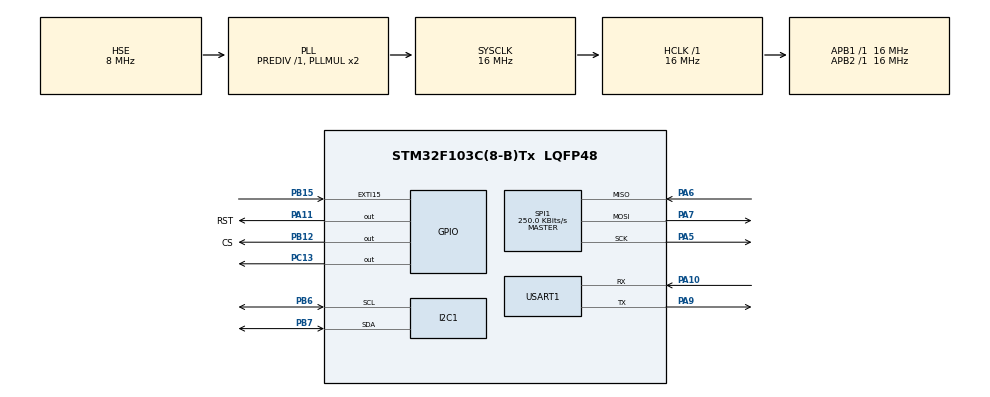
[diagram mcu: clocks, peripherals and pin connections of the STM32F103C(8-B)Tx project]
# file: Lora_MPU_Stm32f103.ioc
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Mcu.Family=STM32F1
Mcu.Name=STM32F103C(8-B)Tx
Mcu.Package=LQFP48
NVIC.PriorityGroup=NVIC_PRIORITYGROUP_4
PA10.Mode=Asynchronous
PA10.Signal=USART1_RX
PA11.GPIO_Label=RST
PA11.PinState=GPIO_PIN_SET
PA11.Signal=GPIO_Output
PA5.Mode=Full_Duplex_Master
PA5.Signal=SPI1_SCK
PA6.Mode=Full_Duplex_Master
PA6.Signal=SPI1_MISO
PA7.Mode=Full_Duplex_Master
PA7.Signal=SPI1_MOSI
PA9.Mode=Asynchronous
PA9.Signal=USART1_TX
PB12.GPIO_Label=CS
PB12.PinState=GPIO_PIN_SET
PB12.Signal=GPIO_Output
PB15.GPIO_ModeDefaultEXTI=GPIO_MODE_IT_RISING
PB15.Signal=GPXTI15
PB6.Mode=I2C
PB6.Signal=I2C1_SCL
PB7.Mode=I2C
PB7.Signal=I2C1_SDA
PC13-TAMPER-RTC.Signal=GPIO_Output
PD0-OSC_IN.Mode=HSE-External-Oscillator
PD0-OSC_IN.Signal=RCC_OSC_IN
PD1-OSC_OUT.Mode=HSE-External-Oscillator
PD1-OSC_OUT.Signal=RCC_OSC_OUT
ProjectManager.HeapSize=0x200
ProjectManager.StackSize=0x400
ProjectManager.TargetToolchain=STM32CubeIDE
RCC.AHBFreq_Value=16000000
RCC.APB1Freq_Value=16000000
RCC.APB1TimFreq_Value=16000000
RCC.APB2Freq_Value=16000000
RCC.APB2TimFreq_Value=16000000
RCC.HCLKFreq_Value=16000000
RCC.PLLSourceVirtual=RCC_PLLSOURCE_HSE
RCC.SYSCLKFreq_VALUE=16000000
RCC.SYSCLKSource=RCC_SYSCLKSOURCE_PLLCLK
RCC.USBFreq_Value=16000000
SPI1.BaudRatePrescaler=SPI_BAUDRATEPRESCALER_64
SPI1.CalculateBaudRate=250.0 KBits/s
SPI1.Direction=SPI_DIRECTION_2LINES
SPI1.Mode=SPI_MODE_MASTER
SPI1.VirtualType=VM_MASTER
USART1.VirtualMode=VM_ASYNC
VP_SYS_VS_ND.Mode=No_Debug
board=custom

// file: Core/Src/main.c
/* USER CODE BEGIN Header */
/**
  ******************************************************************************
  * @file           : main.c
  * @brief          : Main program body
  ******************************************************************************
  * @attention
  *
  * Copyright (c) 2025 STMicroelectronics.
  * All rights reserved.
  *
  * This software is licensed under terms that can be found in the LICENSE file
  * in the root directory of this software component.
  * If no LICENSE file comes with this software, it is provided AS-IS.
  *
  ******************************************************************************
  */
/* USER CODE END Header */
#include "main.h"

I2C_HandleTypeDef hi2c1;

SPI_HandleTypeDef hspi1;

UART_HandleTypeDef huart1;

void SystemClock_Config(void);
static void MX_GPIO_Init(void);
static void MX_SPI1_Init(void);
static void MX_I2C1_Init(void);
static void MX_USART1_UART_Init(void);
/* USER CODE BEGIN PFP */
uint8_t LoRa_readVersion_safe(LoRa* dev) {
    uint8_t tx[2] = { 0x42 & 0x7F, 0x00 }; // 0x42 read
    uint8_t rx[2] = {0,0};

    HAL_GPIO_WritePin(dev->CS_port, dev->CS_pin, GPIO_PIN_RESET);
    // Tối ưu: nhỏ timeout lúc test
    HAL_SPI_TransmitReceive(dev->hSPIx, tx, rx, 2, 200);
    HAL_GPIO_WritePin(dev->CS_port, dev->CS_pin, GPIO_PIN_SET);

    return rx[1];
}
/* USER CODE END PFP */

/* USER CODE BEGIN 0 */
LoRa myLoRa;
volatile uint16_t status_lora;
uint8_t send_data[128];
SensorData data;
/* USER CODE END 0 */

int main(void)
{

  /* MCU Configuration--------------------------------------------------------*/

  /* Reset of all peripherals, Initializes the Flash interface and the Systick. */
  HAL_Init();

  /* Configure the system clock */
  SystemClock_Config();

  /* Initialize all configured peripherals */
  MX_GPIO_Init();
  MX_SPI1_Init();
  MX_I2C1_Init();
  MX_USART1_UART_Init();
  /* USER CODE BEGIN 2 */

  myLoRa = newLoRa();

	myLoRa.hSPIx                 = &hspi1;
	myLoRa.CS_port               = NSS_GPIO_Port;
	myLoRa.CS_pin                = NSS_Pin;
	myLoRa.reset_port            = RESET_GPIO_Port;
	myLoRa.reset_pin             = RESET_Pin;
	myLoRa.DIO0_port			= DIO0_GPIO_Port;
	myLoRa.DIO0_pin				= DIO0_Pin;

	myLoRa.frequency             = 433;							  // default = 433 MHz
	myLoRa.spredingFactor        = SF_7;							// default = SF_7
	myLoRa.bandWidth			       = BW_125KHz;				  // default = BW_125KHz
	myLoRa.crcRate				       = CR_4_5;						// default = CR_4_5
	myLoRa.power					       = POWER_20db;				// default = 20db
	myLoRa.overCurrentProtection = 120; 							// default = 100 mA
	myLoRa.preamble				       = 10;		  					// default = 8;

	LoRa_reset(&myLoRa);

	/*Check loop back PA7 - PA6
	 * uint8_t tx[4] = {0xAA, 0x55, 0x12, 0x34};
	uint8_t rx[4] = {0};
	// CS không cần kéo vì loopback trên MCU pins, nhưng để nguyên:
	HAL_GPIO_WritePin(myLoRa.CS_port, myLoRa.CS_pin, GPIO_PIN_RESET);
	HAL_SPI_TransmitReceive(&hspi1, tx, rx, 4, 100);
	HAL_GPIO_WritePin(myLoRa.CS_port, myLoRa.CS_pin, GPIO_PIN_SET);

	// kiểm tra phản hồi
	for(int i=0;i<4;i++){
		if(rx[i] != tx[i]) return 0; // fail
	}
	return 1; // pass
	*/
	status_lora = LoRa_init(&myLoRa);
  /* USER CODE END 2 */

  /* Infinite loop */
  /* USER CODE BEGIN WHILE */
	sample_data(&data);
	while (1)
  {
    /* USER CODE END WHILE */

    /* USER CODE BEGIN 3 */
	  HAL_GPIO_WritePin(GPIOC, GPIO_PIN_13, GPIO_PIN_RESET);
	  HAL_Delay(100);
	  HAL_GPIO_WritePin(GPIOC, GPIO_PIN_13, GPIO_PIN_SET);
	  HAL_Delay(100);

	send_data[0] = 0x3B; // MY ADDRESS
	LoRa_transmit(&myLoRa, (uint32_t*)&data, sizeof(data), 500);
	HAL_Delay(100);
  }
  /* USER CODE END 3 */
}

void SystemClock_Config(void)
{
  RCC_OscInitTypeDef RCC_OscInitStruct = {0};
  RCC_ClkInitTypeDef RCC_ClkInitStruct = {0};

  /** Initializes the RCC Oscillators according to the specified parameters
  * in the RCC_OscInitTypeDef structure.
  */
  RCC_OscInitStruct.OscillatorType = RCC_OSCILLATORTYPE_HSE;
  RCC_OscInitStruct.HSEState = RCC_HSE_ON;
  RCC_OscInitStruct.HSEPredivValue = RCC_HSE_PREDIV_DIV1;
  RCC_OscInitStruct.HSIState = RCC_HSI_ON;
  RCC_OscInitStruct.PLL.PLLState = RCC_PLL_ON;
  RCC_OscInitStruct.PLL.PLLSource = RCC_PLLSOURCE_HSE;
  RCC_OscInitStruct.PLL.PLLMUL = RCC_PLL_MUL2;
  if (HAL_RCC_OscConfig(&RCC_OscInitStruct) != HAL_OK)
  {
    Error_Handler();
  }

  /** Initializes the CPU, AHB and APB buses clocks
  */
  RCC_ClkInitStruct.ClockType = RCC_CLOCKTYPE_HCLK|RCC_CLOCKTYPE_SYSCLK
                              |RCC_CLOCKTYPE_PCLK1|RCC_CLOCKTYPE_PCLK2;
  RCC_ClkInitStruct.SYSCLKSource = RCC_SYSCLKSOURCE_PLLCLK;
  RCC_ClkInitStruct.AHBCLKDivider = RCC_SYSCLK_DIV1;
  RCC_ClkInitStruct.APB1CLKDivider = RCC_HCLK_DIV1;
  RCC_ClkInitStruct.APB2CLKDivider = RCC_HCLK_DIV1;

  if (HAL_RCC_ClockConfig(&RCC_ClkInitStruct, FLASH_LATENCY_0) != HAL_OK)
  {
    Error_Handler();
  }
}

static void MX_I2C1_Init(void)
{

  hi2c1.Instance = I2C1;
  hi2c1.Init.ClockSpeed = 100000;
  hi2c1.Init.DutyCycle = I2C_DUTYCYCLE_2;
  hi2c1.Init.OwnAddress1 = 0;
  hi2c1.Init.AddressingMode = I2C_ADDRESSINGMODE_7BIT;
  hi2c1.Init.DualAddressMode = I2C_DUALADDRESS_DISABLE;
  hi2c1.Init.OwnAddress2 = 0;
  hi2c1.Init.GeneralCallMode = I2C_GENERALCALL_DISABLE;
  hi2c1.Init.NoStretchMode = I2C_NOSTRETCH_DISABLE;
  if (HAL_I2C_Init(&hi2c1) != HAL_OK)
  {
    Error_Handler();
  }

}

static void MX_SPI1_Init(void)
{

  /* SPI1 parameter configuration*/
  hspi1.Instance = SPI1;
  hspi1.Init.Mode = SPI_MODE_MASTER;
  hspi1.Init.Direction = SPI_DIRECTION_2LINES;
  hspi1.Init.DataSize = SPI_DATASIZE_8BIT;
  hspi1.Init.CLKPolarity = SPI_POLARITY_LOW;
  hspi1.Init.CLKPhase = SPI_PHASE_1EDGE;
  hspi1.Init.NSS = SPI_NSS_SOFT;
  hspi1.Init.BaudRatePrescaler = SPI_BAUDRATEPRESCALER_64;
  hspi1.Init.FirstBit = SPI_FIRSTBIT_MSB;
  hspi1.Init.TIMode = SPI_TIMODE_DISABLE;
  hspi1.Init.CRCCalculation = SPI_CRCCALCULATION_DISABLE;
  hspi1.Init.CRCPolynomial = 10;
  if (HAL_SPI_Init(&hspi1) != HAL_OK)
  {
    Error_Handler();
  }

}

static void MX_USART1_UART_Init(void)
{

  huart1.Instance = USART1;
  huart1.Init.BaudRate = 115200;
  huart1.Init.WordLength = UART_WORDLENGTH_8B;
  huart1.Init.StopBits = UART_STOPBITS_1;
  huart1.Init.Parity = UART_PARITY_NONE;
  huart1.Init.Mode = UART_MODE_TX_RX;
  huart1.Init.HwFlowCtl = UART_HWCONTROL_NONE;
  huart1.Init.OverSampling = UART_OVERSAMPLING_16;
  if (HAL_UART_Init(&huart1) != HAL_OK)
  {
    Error_Handler();
  }

}

static void MX_GPIO_Init(void)
{
  GPIO_InitTypeDef GPIO_InitStruct = {0};

  /* GPIO Ports Clock Enable */
  __HAL_RCC_GPIOC_CLK_ENABLE();
  __HAL_RCC_GPIOD_CLK_ENABLE();
  __HAL_RCC_GPIOA_CLK_ENABLE();
  __HAL_RCC_GPIOB_CLK_ENABLE();

  /*Configure GPIO pin Output Level */
  HAL_GPIO_WritePin(GPIOC, GPIO_PIN_13, GPIO_PIN_RESET);

  /*Configure GPIO pin Output Level */
  HAL_GPIO_WritePin(CS_GPIO_Port, CS_Pin, GPIO_PIN_SET);

  /*Configure GPIO pin Output Level */
  HAL_GPIO_WritePin(RST_GPIO_Port, RST_Pin, GPIO_PIN_SET);

  /*Configure GPIO pin : PC13 */
  GPIO_InitStruct.Pin = GPIO_PIN_13;
  GPIO_InitStruct.Mode = GPIO_MODE_OUTPUT_PP;
  GPIO_InitStruct.Pull = GPIO_NOPULL;
  GPIO_InitStruct.Speed = GPIO_SPEED_FREQ_LOW;
  HAL_GPIO_Init(GPIOC, &GPIO_InitStruct);

  /*Configure GPIO pin : CS_Pin */
  GPIO_InitStruct.Pin = CS_Pin;
  GPIO_InitStruct.Mode = GPIO_MODE_OUTPUT_PP;
  GPIO_InitStruct.Pull = GPIO_NOPULL;
  GPIO_InitStruct.Speed = GPIO_SPEED_FREQ_LOW;
  HAL_GPIO_Init(CS_GPIO_Port, &GPIO_InitStruct);

  /*Configure GPIO pin : PB15 */
  GPIO_InitStruct.Pin = GPIO_PIN_15;
  GPIO_InitStruct.Mode = GPIO_MODE_IT_RISING;
  GPIO_InitStruct.Pull = GPIO_NOPULL;
  HAL_GPIO_Init(GPIOB, &GPIO_InitStruct);

  /*Configure GPIO pin : RST_Pin */
  GPIO_InitStruct.Pin = RST_Pin;
  GPIO_InitStruct.Mode = GPIO_MODE_OUTPUT_PP;
  GPIO_InitStruct.Pull = GPIO_NOPULL;
  GPIO_InitStruct.Speed = GPIO_SPEED_FREQ_LOW;
  HAL_GPIO_Init(RST_GPIO_Port, &GPIO_InitStruct);

/* USER CODE BEGIN MX_GPIO_Init_2 */
  /* EXTI interrupt init*/
    HAL_NVIC_SetPriority(EXTI15_10_IRQn, 0, 0);
    HAL_NVIC_EnableIRQ(EXTI15_10_IRQn);
/* USER CODE END MX_GPIO_Init_2 */
}

void Error_Handler(void)
{
  __disable_irq();
  while (1)
  {
  }
}
